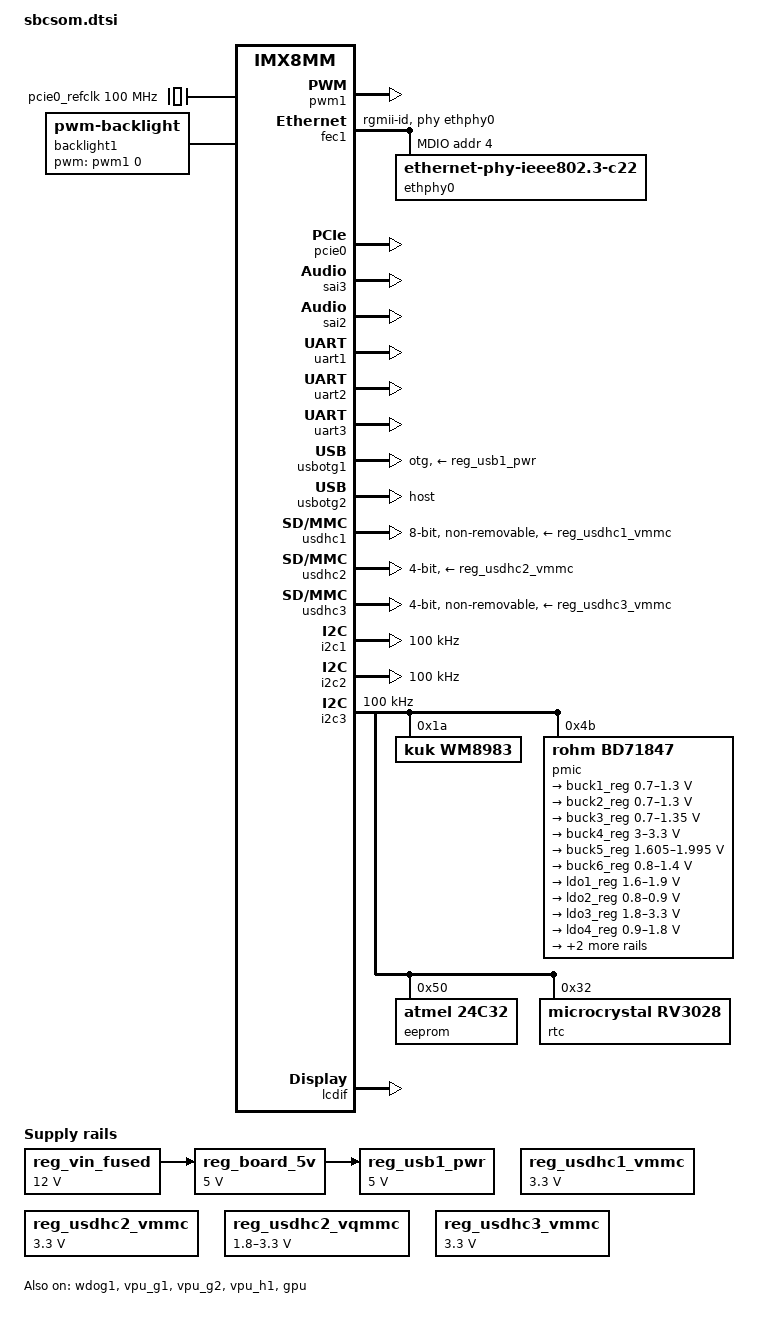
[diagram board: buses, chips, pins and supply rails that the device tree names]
/*
 * Copyright 2020 Keith & Koep GmbH
 */

/*
Switches:
    TRIZEPS8MINI_V1R1                   Use V1R1 (engineering sample), whcih use GPIO1_2 as Reset instead of Watchdog-Reset                      			

    TRIZEPS8MINI_USDHC1_VQMMC_MCU		For UHS: Control VQMMC voltage of internal uSD-Card.
    TRIZEPS8MINI_USDHC2_VQMMC_MCU		For UHS: Control VQMMC voltage of external uSD-Card. 
    There is only one VQMMC-switch on the Trizeps module. 
    Module with eMMC:   VQMMC of eMMC fixed to +1V8 and VQMMC of ext. uSD fixed to +3V3   
                        Special mounting exist to switch ext. uSD voltage: Use TRIZEPS8MINI_USDHC2_VQMMC_MCU in that case.
    Module with uSD:    VQMMC of int. uSD switchable (+3V3/+1V8) and VQMMC of ext. uSD fixed to +3V3. 
                        May use TRIZEPS8MINI_USDHC1_VQMMC_MCU to allow UHS.
    
    ETHERNET_ONLY_100MBIT				Reduce Ethernet to 100MBit in case extra lanes for 1GBit are not connected on the baseboard.

    TRIZEPS8MINI_BT_SCO_XTOR			Special audio-driver for Bluetooth.

*/

#include "imx8mm.dtsi"
#include "sbcsom-pinfunc.h"

/ {
	firmware {
		android {
			compatible = "android,firmware";
			/* default emmc node used for GSI */
			boot_devices = "soc@0/soc@0:bus@30800000/30b40000.mmc";
			/* sd card node which used if androidboot.boot_device_root=mmcblk1 */
			boot_devices_mmcblk1 = "soc@0/soc@0:bus@30800000/30b40000.mmc";
			/* emmc node which used if androidboot.boot_device_root=mmcblk2 */
			boot_devices_mmcblk2 = "soc@0/soc@0:bus@30800000/30b40000.mmc";
			fstab {
				compatible = "android,fstab";
				system {
					compatible = "android,system";
					dev = "system";
					type = "ext4";
					mnt_flags = "noatime,errors=panic,ro,barrier=1,inode_readahead_blks=8";
					fsmgr_flags = "wait,slotselect,avb,avb_keys=/avb/q-gsi.avbpubkey:/avb/r-gsi.avbpubkey:/avb/s-gsi.avbpubkey,logical,first_stage_mount";
				};
				vendor {
					compatible = "android,vendor";
					dev = "vendor";
					type = "ext4";
					mnt_flags = "noatime,errors=panic,ro,barrier=1,inode_readahead_blks=8";
					fsmgr_flags = "wait,slotselect,avb,logical,first_stage_mount";
				};
				product {
					compatible = "android,product";
					dev = "product";
					type = "ext4";
					mnt_flags = "noatime,errors=panic,ro,barrier=1,inode_readahead_blks=8";
					fsmgr_flags = "wait,slotselect,avb,logical,first_stage_mount";
				};
			};
			vbmeta {
				/*we need use FirstStageMountVBootV2 if we enable avb*/
				compatible = "android,vbmeta";
				/*parts means the partition witch can be mount in first stage*/
				parts = "vbmeta,dtbo,boot,system,vendor,product";
			};
		};
	};
};

/ {
	trusty {
		compatible = "android,trusty-smc-v1";
		ranges;
		#address-cells = <2>;
		#size-cells = <2>;
		trusty-irq {
			compatible = "android,trusty-irq-v1";
			interrupt-templates = <&trusty_ipi 0>;
			interrupt-ranges = < 0 15 0>;
		};
		trusty-virtio {
			compatible = "android,trusty-virtio-v1";
		};
		trusty-log {
			compatible = "android,trusty-log-v1";
		};
	};
	trusty_ipi: interrupt-controller@0 {
		compatible = "android,CustomIPI";
		interrupt-controller;
		#interrupt-cells = <1>;
	};
};

/ {
	reserved-memory {
		#address-cells = <2>;
		#size-cells = <2>;
		ranges;

		rpmsg_reserved: rpmsg@0xb8000000 {
			no-map;
			reg = <0 0xb8000000 0 0x400000>;
		};
	};

	pcie0_refclk: pcie0-refclk {
		compatible = "fixed-clock";
		#clock-cells = <0>;
		clock-frequency = <100000000>;
	};

	reg_vin_fused: vin_fused {
		compatible = "regulator-fixed";
		regulator-name = "VIN_FUSED";
		regulator-min-microvolt = <12000000>;
		regulator-max-microvolt = <12000000>;
		regulator-always-on;
	};

	reg_board_5v: 5v {
		compatible = "regulator-fixed";
		regulator-name = "+5V";
		regulator-min-microvolt = <5000000>;
		regulator-max-microvolt = <5000000>;
		regulator-always-on;
		vin-supply = <&reg_vin_fused>;
	};

	reg_usb1_pwr: usb1-pwr {
		compatible = "regulator-fixed";
		regulator-name = "USB1 PWR";
		regulator-min-microvolt = <5000000>;
		regulator-max-microvolt = <5000000>;
		pinctrl-names = "default";
		pinctrl-0 = <&pinctrl_usb1_enable>;
		gpio = <usbc_switch_gpio 1>;
		enable-active-high;
		regulator-always-on;
		vin-supply = <&reg_board_5v>;
	};

	reg_usdhc1_vmmc: usdhc1_vmmc {
		compatible = "regulator-fixed";
		regulator-name = "VMMC_USDHC1";
		regulator-min-microvolt = <3300000>;
		regulator-max-microvolt = <3300000>;
		enable-active-high;
	};

	reg_usdhc2_vmmc: regulator-usdhc2 {
		compatible = "regulator-fixed";
		regulator-name = "VMMC_USDHC2";
		regulator-min-microvolt = <3300000>;
		regulator-max-microvolt = <3300000>;
		enable-active-high;
	};

	reg_usdhc2_vqmmc: regulator-usdhc2-vqmmc {
		compatible = "regulator-gpio";
		regulator-name = "VDDIO_USDHC2";
		regulator-min-microvolt = <1800000>;
		regulator-max-microvolt = <3300000>;
    	pinctrl-names = "default";
	    pinctrl-0 = <&pinctrl_sd_vsel>;        
        gpios = <&gpio4 22 GPIO_ACTIVE_HIGH>;
        gpios-states = <1>;
		states = <1800000 1>, <3300000 0>;
	};

    reg_usdhc3_vmmc: regulator-usdhc3 {
		compatible = "regulator-fixed";
		regulator-name = "VMMC_USDHC3";
		regulator-min-microvolt = <3300000>;
		regulator-max-microvolt = <3300000>;
		enable-active-high;
	};

	sound-xtor {
		compatible = "fsl,imx-audio-xtor";
		model = "xtor-audio";
		cpu-dai = <&sai3>;
		status = "okay";
	};

	sound-wm8983 {
		compatible = "simple-audio-card";
		simple-audio-card,name = "wm8983-audio";
		simple-audio-card,format = "i2s";
		simple-audio-card,frame-master = <&cpudai>;
		simple-audio-card,bitclock-master = <&cpudai>;
		simple-audio-card,widgets =
			"Headphone", "Headphone Jack",
			"Speaker", "Speaker", 
			"Line","LineIn Jack",
			"Microphone", "Microphone";
		simple-audio-card,routing =
			"Headphone Jack", "HPL",
			"Headphone Jack", "HPR",
			"Headphone Jack", "OUT4",
			"Speaker", "SPKL",
			"Speaker", "SPKR",
			"LineIn Jack", "L2",
			"LineIn Jack", "R2",
			"Microphone", "LIP",
			"Microphone", "LIN",
			"Microphone", "MICBIAS";

		cpudai: simple-audio-card,cpu {
			sound-dai = <&sai2>;
			dai-tdm-slot-num = <2>;
			dai-tdm-slot-width = <32>;
		};

		simple-audio-card,codec {
			sound-dai = <&wm8983>;
			clocks = <&clk IMX8MM_CLK_SAI2_ROOT>;
		};
	};

	sound-spdif {
		compatible = "fsl,imx-audio-spdif";
		model = "imx-spdif";
		spdif-controller = <&spdif1>;
		spdif-out;
		spdif-in;
	};

	sound-micfil {
		compatible = "fsl,imx-audio-micfil";
		model = "imx-audio-micfil";
		cpu-dai = <&micfil>;
	};

	backlight1: backlight {
		compatible = "pwm-backlight";
		pwms = <&pwm1 0 100000 0>;
		brightness-levels = < 0  1  2  3  4  5  6  7  8  9
				     10 11 12 13 14 15 16 17 18 19
				     20 21 22 23 24 25 26 27 28 29
				     30 31 32 33 34 35 36 37 38 39
				     40 41 42 43 44 45 46 47 48 49
				     50 51 52 53 54 55 56 57 58 59
				     60 61 62 63 64 65 66 67 68 69
				     70 71 72 73 74 75 76 77 78 79
				     80 81 82 83 84 85 86 87 88 89
				     90 91 92 93 94 95 96 97 98 99
				    100>;
		default-brightness-level = <80>;
		status = "disabled";
 	};
};

&pwm1 {
	pinctrl-names = "default";
    pinctrl-0 = <&pinctrl_backlight_pwm1>;	
	status = "okay";
};

&backlight1 {
	status = "okay";
	pinctrl-0 = <&pinctrl_backlight_enable>;
	enable-gpios = <pin1b34_gpio GPIO_ACTIVE_HIGH>;    
};

&A53_0 {
	cpu-supply = <&buck2_reg>;
};

&fec1 {
	pinctrl-names = "default";
	pinctrl-0 = <&pinctrl_fec1>;
	phy-mode = "rgmii-id";
	phy-handle = <&ethphy0>;
	fsl,magic-packet;
	status = "okay";

	mdio {
		#address-cells = <1>;
		#size-cells = <0>;

		ethphy0: ethernet-phy@0 {
			compatible = "ethernet-phy-ieee802.3-c22";
			reg = <4>;
			at803x,eee-disabled;
			at803x,vddio-1p8v;
		};
	};
};

&pcie0{
	pinctrl-names   = "default";
	pinctrl-0       = <&pinctrl_pcie0>;
	disable-gpio    = <pcie_w_disable_gpio GPIO_ACTIVE_LOW>;
	reset-gpio      = <pcie_reset_gpio GPIO_ACTIVE_LOW>;
	clocks          = <&clk IMX8MM_CLK_PCIE1_ROOT>,
		                <&clk IMX8MM_CLK_PCIE1_AUX>,
		                <&clk IMX8MM_CLK_PCIE1_PHY>,
		                <&pcie0_refclk>;
	clock-names = "pcie", "pcie_aux", "pcie_phy", "pcie_bus";
	hard-wired      = <1>;
    ext_osc         = <0>;
	reserved-region = <&rpmsg_reserved>;
	status = "okay";
};

&clk {
	assigned-clocks = <&clk IMX8MM_AUDIO_PLL1>, <&clk IMX8MM_AUDIO_PLL2>;
	assigned-clock-rates = <786432000>, <722534400>;
};

&sai3 {
	pinctrl-names = "default";
	pinctrl-0 = <&pinctrl_sai3>;
	assigned-clocks = <&clk IMX8MM_CLK_SAI3>;
	assigned-clock-parents = <&clk IMX8MM_AUDIO_PLL1_OUT>;
	assigned-clock-rates = <49152000>;
	status = "okay";
};

&sai2 {
	#sound-dai-cells = <0>;
	pinctrl-names = "default";
	pinctrl-0 = <&pinctrl_sai2>;
	assigned-clocks = <&clk IMX8MM_CLK_SAI2>;
	assigned-clock-parents = <&clk IMX8MM_AUDIO_PLL1_OUT>;
	assigned-clock-rates = <24576000>;
	status = "okay";
};


&spdif1 {
	pinctrl-names = "default";
	pinctrl-0 = <&pinctrl_spdif1>;
	assigned-clocks = <&clk IMX8MM_CLK_SPDIF1>;
	assigned-clock-parents = <&clk IMX8MM_AUDIO_PLL1_OUT>;
	assigned-clock-rates = <24576000>;
	clocks = <&clk IMX8MM_CLK_AUDIO_AHB>, <&clk IMX8MM_CLK_24M>,
		<&clk IMX8MM_CLK_SPDIF1>, <&clk IMX8MM_CLK_DUMMY>,
		<&clk IMX8MM_CLK_DUMMY>, <&clk IMX8MM_CLK_DUMMY>,
		<&clk IMX8MM_CLK_AUDIO_AHB>, <&clk IMX8MM_CLK_DUMMY>,
		<&clk IMX8MM_CLK_DUMMY>, <&clk IMX8MM_CLK_DUMMY>,
		<&clk IMX8MM_AUDIO_PLL1_OUT>, <&clk IMX8MM_AUDIO_PLL2_OUT>;
	clock-names = "core", "rxtx0", "rxtx1", "rxtx2", "rxtx3",
		"rxtx4", "rxtx5", "rxtx6", "rxtx7", "spba", "pll8k", "pll11k";
	status = "disabled";
};

&snvs_pwrkey {
	status = "disabled";
};

&uart1 { /* i-MOD UART J12 and ext. Con. */
	pinctrl-names = "default";
	pinctrl-0 = <&pinctrl_uart1>;
	assigned-clocks = <&clk IMX8MM_CLK_UART1>;
	assigned-clock-parents = <&clk IMX8MM_SYS_PLL1_80M>;
	fsl,uart-has-rtscts;
	status = "okay";
};

&uart2 { /* ext. Con. */
	pinctrl-names = "default";
	pinctrl-0 = <&pinctrl_uart2>;
	assigned-clocks = <&clk IMX8MM_CLK_UART2>;
	assigned-clock-parents = <&clk IMX8MM_SYS_PLL1_80M>;
    fsl,uart-has-rtscts;
	status = "okay";
};

&uart3 { /* ext. Con. and/or bluetooth-module */
	pinctrl-names = "default";
	pinctrl-0 = <&pinctrl_uart3>;
	assigned-clocks = <&clk IMX8MM_CLK_UART3>;
	assigned-clock-parents = <&clk IMX8MM_SYS_PLL1_80M>;
	fsl,uart-has-rtscts;
	status = "okay";
};

&uart4 { /* ext. Con. */
	pinctrl-names = "default";
	pinctrl-0 = <&pinctrl_uart4>;
	assigned-clocks = <&clk IMX8MM_CLK_UART4>;
	assigned-clock-parents = <&clk IMX8MM_SYS_PLL1_80M>;
	fsl,uart-has-rtscts;
	status = "disabled";
};


&usbotg1 {
	dr_mode = "otg";
    vbus-supply = <&reg_usb1_pwr>;
	hnp-disable;
	srp-disable;
	adp-disable;
	usb-role-switch;
	picophy,pre-emp-curr-control = <3>;
	picophy,dc-vol-level-adjust = <7>;
	status = "okay";
};

&usbotg2 {
	dr_mode = "host";
    disable-over-current;
	hnp-disable;
	srp-disable;
	adp-disable;
	usb-role-switch;
	picophy,pre-emp-curr-control = <3>;
	picophy,dc-vol-level-adjust = <7>;
	status = "okay";
};

&usdhc1 {   /* eMMC */
	pinctrl-names = "default", "state_100mhz", "state_200mhz";
	pinctrl-0 = <&pinctrl_usdhc1>, <&pinctrl_usdhc1_gpio>;
	pinctrl-1 = <&pinctrl_usdhc1_100mhz>, <&pinctrl_usdhc1_gpio>;
	pinctrl-2 = <&pinctrl_usdhc1_200mhz>, <&pinctrl_usdhc1_gpio>;
	bus-width = <8>;
	vmmc-supply = <&reg_usdhc1_vmmc>;
	non-removable;
	status = "okay";
};

&usdhc2 {   /* ext. Con. */
	pinctrl-names = "default", "state_100mhz", "state_200mhz";
	pinctrl-0 = <&pinctrl_usdhc2>, <&pinctrl_usdhc2_gpio>;
	pinctrl-1 = <&pinctrl_usdhc2_100mhz>, <&pinctrl_usdhc2_gpio>;
	pinctrl-2 = <&pinctrl_usdhc2_200mhz>, <&pinctrl_usdhc2_gpio>;
	cd-gpios = <pin1b37_gpio GPIO_ACTIVE_LOW>;
	bus-width = <4>;
	vmmc-supply = <&reg_usdhc2_vmmc>;
	pm-ignore-notify;
	keep-power-in-suspend;
    vqmmc-supply = <&reg_usdhc2_vqmmc>;
	status = "okay";
};

&usdhc3 {   /* Wifi/BT module or ext. Con */
	pinctrl-names = "default", "state_100mhz", "state_200mhz";
	pinctrl-0 = <&pinctrl_usdhc3>, <&pinctrl_usdhc3_gpio>;
	pinctrl-1 = <&pinctrl_usdhc3_100mhz>, <&pinctrl_usdhc3_gpio>;
	pinctrl-2 = <&pinctrl_usdhc3_200mhz>, <&pinctrl_usdhc3_gpio>;
	bus-width = <4>;
	vmmc-supply = <&reg_usdhc3_vmmc>;
	pm-ignore-notify;
	keep-power-in-suspend;
    non-removable;
    no-1-8-v;
	status = "okay";
};

&wdog1 {
	pinctrl-names = "default";
	pinctrl-0 = <&pinctrl_wdog>;
	fsl,ext-reset-output;
	status = "okay";
};

&i2c1 { /* ext. Con, i-MOD USB, PCIe-socket */
	clock-frequency = <100000>;
	pinctrl-names = "default";
	pinctrl-0 = <&pinctrl_i2c1>;
	status = "okay";
};

&i2c2 { /* ext. Con, Touch, Camera */
	clock-frequency = <100000>;
	pinctrl-names = "default";
	pinctrl-0 = <&pinctrl_i2c2>;
	status = "okay";
};

&i2c3 { /* Internal I2C */
	clock-frequency = <100000>;
	pinctrl-names = "default";
	pinctrl-0 = <&pinctrl_i2c3>;
	status = "okay";

	wm8983: wm8983@1a {	/* Audio-Codec */
        #sound-dai-cells = <0>;
		compatible = "kuk,wm8983";
		reg = <0x1a>;
		clocks = <&clk IMX8MM_CLK_SAI2_ROOT>;
		clock-names = "mclk";		
	};

	sn65dsi84@2c {
		status = "disabled";
		compatible = "ti,sn65dsi84";
		reg = <0x2c>;
		enable-gpios =<lvds_en_gpio GPIO_ACTIVE_HIGH>;

		pinctrl-names = "default";
		pinctrl-0 = <&pinctrl_i2c3_sn65dsi84_en>;
	};        

	pmic@4b {
		compatible = "rohm,bd71847";
		reg = <0x4b>;
		rohm,reset-snvs-powered;

		regulators {
			buck1_reg: BUCK1 {  // VDD_SOC_0V8
				regulator-name = "BUCK1";
				regulator-min-microvolt = <700000>;
				regulator-max-microvolt = <1300000>;
				regulator-boot-on;
				regulator-always-on;
				regulator-ramp-delay = <1250>;
			};

			buck2_reg: BUCK2 {  // VDD_SOC_0V9
				regulator-name = "BUCK2";
				regulator-min-microvolt = <700000>;
				regulator-max-microvolt = <1300000>;
				regulator-boot-on;
				regulator-always-on;
				regulator-ramp-delay = <1250>;
				rohm,dvs-run-voltage = <1000000>;
				rohm,dvs-idle-voltage = <900000>;
			};

			buck3_reg: BUCK3 {  // VDD_DRAM_PU_0V9
				// BUCK5 in datasheet
				regulator-name = "BUCK3";
				regulator-min-microvolt = <700000>;
				regulator-max-microvolt = <1350000>;
				regulator-boot-on;
				regulator-always-on;
			};

			buck4_reg: BUCK4 {  // +3V3_AUX
				// BUCK6 in datasheet
				regulator-name = "BUCK4";
				regulator-min-microvolt = <3000000>;
				regulator-max-microvolt = <3300000>;
				regulator-boot-on;
				regulator-always-on;
			};

			buck5_reg: BUCK5 {  // VDD_1V8
				// BUCK7 in datasheet
				regulator-name = "BUCK5";
				regulator-min-microvolt = <1605000>;
				regulator-max-microvolt = <1995000>;
				regulator-boot-on;
				regulator-always-on;
			};

			buck6_reg: BUCK6 {  // NVCC_DRAM_1V1
				// BUCK8 in datasheet
				regulator-name = "BUCK6";
				regulator-min-microvolt = <800000>;
				regulator-max-microvolt = <1400000>;
				regulator-boot-on;
				regulator-always-on;
			};

			ldo1_reg: LDO1 {    // NVCC_SNVS_1V8
				regulator-name = "LDO1";
				regulator-min-microvolt = <1600000>;
				regulator-max-microvolt = <1900000>;
				regulator-boot-on;
				regulator-always-on;
			};

			ldo2_reg: LDO2 {    // VDD_SNVS_0V8
				regulator-name = "LDO2";
				regulator-min-microvolt = <800000>;
				regulator-max-microvolt = <900000>;
				regulator-boot-on;
				regulator-always-on;
			};

			ldo3_reg: LDO3 {    // VDDA_1V8
				regulator-name = "LDO3";
				regulator-min-microvolt = <1800000>;
				regulator-max-microvolt = <3300000>;
				regulator-boot-on;
				regulator-always-on;
			};

			ldo4_reg: LDO4 {    // VDD_PHY_0V9
				regulator-name = "LDO4";
				regulator-min-microvolt = <900000>;
				regulator-max-microvolt = <1800000>;
				regulator-boot-on;
				regulator-always-on;
			};

			ldo5_reg: LDO5 {    // VDD_FPGA_MIPI
				regulator-name = "LDO5";
				regulator-min-microvolt = <800000>;
				regulator-max-microvolt = <3300000>;
				regulator-boot-on;
				regulator-always-on;
			};

			ldo6_reg: LDO6 {    // VDD_PHY_1V2
				regulator-name = "LDO6";
				regulator-min-microvolt = <900000>;
				regulator-max-microvolt = <1800000>;
				regulator-boot-on;
				regulator-always-on;
			};
		};
	};

    eeprom@50 {
		compatible = "atmel,24c32";
		reg = <0x50>;
		pagesize = <32>;
	};

	rtc@52 {
		compatible = "microcrystal,rv3028";
		reg = <0x32>;
		trickle-diode-disable;
	};
};


&iomuxc {
	pinctrl-names = "default";
	pinctrl-0 = <&pinctrl_hog>;

    pinctrl_hog: hoggrp {
		fsl,pins = < 
		    		 CAMERA_PWDN		PAD_GPIO_PU   /* Camera Pwdn  */
   					 CAMERA_RESET		PAD_GPIO_PU   /* Camera nRST  */
		       >;
	};

	pinctrl_fec1: fec1grp {
		fsl,pins = <
			MX8MM_IOMUXC_ENET_MDC_ENET1_MDC			0x3
			MX8MM_IOMUXC_ENET_MDIO_ENET1_MDIO		0x3
			MX8MM_IOMUXC_ENET_TD3_ENET1_RGMII_TD3		0x1f
			MX8MM_IOMUXC_ENET_TD2_ENET1_RGMII_TD2		0x1f
			MX8MM_IOMUXC_ENET_TD1_ENET1_RGMII_TD1		0x1f
			MX8MM_IOMUXC_ENET_TD0_ENET1_RGMII_TD0		0x1f
			MX8MM_IOMUXC_ENET_RD3_ENET1_RGMII_RD3		0x91
			MX8MM_IOMUXC_ENET_RD2_ENET1_RGMII_RD2		0x91
			MX8MM_IOMUXC_ENET_RD1_ENET1_RGMII_RD1		0x91
			MX8MM_IOMUXC_ENET_RD0_ENET1_RGMII_RD0		0x91
			MX8MM_IOMUXC_ENET_TXC_ENET1_RGMII_TXC		0x1f
			MX8MM_IOMUXC_ENET_RXC_ENET1_RGMII_RXC		0x91
			MX8MM_IOMUXC_ENET_RX_CTL_ENET1_RGMII_RX_CTL	0x91
			MX8MM_IOMUXC_ENET_TX_CTL_ENET1_RGMII_TX_CTL	0x1f
			MX8MM_IOMUXC_GPIO1_IO09_GPIO1_IO9		0x19
		>;
	};


	pinctrl_i2c1: i2c1grp {
		fsl,pins = <
			MX8MM_IOMUXC_I2C1_SCL_I2C1_SCL			0x400001c3
			MX8MM_IOMUXC_I2C1_SDA_I2C1_SDA			0x400001c3
		>;
	};

	pinctrl_i2c2: i2c2grp {
		fsl,pins = <
			MX8MM_IOMUXC_I2C2_SCL_I2C2_SCL			0x400001c3
			MX8MM_IOMUXC_I2C2_SDA_I2C2_SDA			0x400001c3
		>;
	};

	pinctrl_i2c3: i2c3grp {
		fsl,pins = <
			MX8MM_IOMUXC_I2C3_SCL_I2C3_SCL			0x400001c3
			MX8MM_IOMUXC_I2C3_SDA_I2C3_SDA			0x400001c3
		>;
	};

	pinctrl_pcie0: pcie0grp {
		fsl,pins = <
			PIN1B32_PCIE1_CLKREQ_B          	0x61   /* open drain, pull up */
			PCIE_W_DISABLE_GPIO             	0x41   /* PCIE1_W_DISABLE     */
			PCIE_RESET_GPIO                 	0x41   /* PCIE1_RESET         */
			WL_POWERDOWN_GPIO           		0x41   /* WL_POWERDOWN        */
			PCIE_WAKE_GPIO                  	0x41   /* PCIE1_WAKE          */
			>;
	};

	pinctrl_sai2: sai2grp {
		fsl,pins = <
			SAI2_RXD_SAI2_RX_DATA0             	0xd6
			SAI2_TXC_SAI2_TX_BCLK           	0xd6
			SAI2_MCLK_SAI2_MCLK             	0xd6
			SAI2_TXD_SAI2_TX_DATA0             	0xd6
			SAI2_RXD_SAI2_RX_DATA0          	0xd6			
		>;
    };

	pinctrl_sai3: sai3grp {
		fsl,pins = <
			BT_PCM_SYNC_SAI3_RX_SYNC            0x1d6
			BT_PCM_CLK_SAI3_RX_BCLK             0x1d6
			BT_PCM_OUT_SAI3_RX_DATA0            0x196
			BT_PCM_IN_SAI3_TX_DATA0             0x196
		>;
	};


	pinctrl_spdif1: spdif1grp {
		fsl,pins = <
			PIN0A35_SPDIF1_OUT              	0xd6
			PIN0A34_SPDIF1_IN           		0xd6
		>;
	};


	pinctrl_uart1: uart1grp {
		fsl,pins = <
			MX8MM_IOMUXC_UART1_RXD_UART1_DCE_RX	0x140
			MX8MM_IOMUXC_UART1_TXD_UART1_DCE_TX	0x140
		>;
	};

	pinctrl_uart2: uart2grp {
		fsl,pins = <
			MX8MM_IOMUXC_UART2_RXD_UART2_DCE_RX	0x140
			MX8MM_IOMUXC_UART2_TXD_UART2_DCE_TX	0x140
			MX8MM_IOMUXC_UART4_RXD_UART2_DCE_CTS_B  0x140     /* RTS */
			MX8MM_IOMUXC_UART4_TXD_UART2_DCE_RTS_B  0x140     /* CTS */
		>;
	};

	pinctrl_uart3: uart3grp {
		fsl,pins = <
			MX8MM_IOMUXC_ECSPI1_SCLK_UART3_DCE_RX		0x140 
			MX8MM_IOMUXC_ECSPI1_MISO_UART3_DCE_CTS_B	0x140 
			MX8MM_IOMUXC_ECSPI1_MOSI_UART3_DCE_TX		0x140 
			MX8MM_IOMUXC_ECSPI1_SS0_UART3_DCE_RTS_B		0x140 
		>;
	};

	pinctrl_uart4: uart4grp {
		fsl,pins = <
			MX8MM_IOMUXC_ECSPI2_SCLK_UART4_DCE_RX		0x140
			MX8MM_IOMUXC_ECSPI2_MOSI_UART4_DCE_TX		0x140
			MX8MM_IOMUXC_ECSPI2_SS0_UART4_DCE_RTS_B         0x140
			MX8MM_IOMUXC_ECSPI2_MISO_UART4_DCE_CTS_B	0x140
		>;
	};

	pinctrl_usdhc1_gpio: usdhc1grpgpio {
		fsl,pins = <
			MX8MM_IOMUXC_SD1_RESET_B_USDHC1_RESET_B	0xc1
		>;
	};

		pinctrl_usdhc1: usdhc1grp {
			fsl,pins = <
				MX8MM_IOMUXC_SD1_CLK_USDHC1_CLK		0x190
				MX8MM_IOMUXC_SD1_CMD_USDHC1_CMD		0x1d0
				MX8MM_IOMUXC_SD1_DATA0_USDHC1_DATA0	0x1d0
				MX8MM_IOMUXC_SD1_DATA1_USDHC1_DATA1	0x1d0
				MX8MM_IOMUXC_SD1_DATA2_USDHC1_DATA2	0x1d0
				MX8MM_IOMUXC_SD1_DATA3_USDHC1_DATA3	0x1d0
				MX8MM_IOMUXC_SD1_DATA4_USDHC1_DATA4	0x1d0
				MX8MM_IOMUXC_SD1_DATA5_USDHC1_DATA5	0x1d0
				MX8MM_IOMUXC_SD1_DATA6_USDHC1_DATA6	0x1d0
				MX8MM_IOMUXC_SD1_DATA7_USDHC1_DATA7	0x1d0
				MX8MM_IOMUXC_SD1_STROBE_USDHC1_STROBE	0x190			
			>;
		};

		pinctrl_usdhc1_100mhz: usdhc1grp100mhz {
			fsl,pins = <
				MX8MM_IOMUXC_SD1_CLK_USDHC1_CLK		0x194
				MX8MM_IOMUXC_SD1_CMD_USDHC1_CMD		0x1d4
				MX8MM_IOMUXC_SD1_DATA0_USDHC1_DATA0	0x1d4
				MX8MM_IOMUXC_SD1_DATA1_USDHC1_DATA1	0x1d4
				MX8MM_IOMUXC_SD1_DATA2_USDHC1_DATA2	0x1d4
				MX8MM_IOMUXC_SD1_DATA3_USDHC1_DATA3	0x1d4
				MX8MM_IOMUXC_SD1_DATA4_USDHC1_DATA4	0x1d4
				MX8MM_IOMUXC_SD1_DATA5_USDHC1_DATA5	0x1d4
				MX8MM_IOMUXC_SD1_DATA6_USDHC1_DATA6	0x1d4
				MX8MM_IOMUXC_SD1_DATA7_USDHC1_DATA7	0x1d4
				MX8MM_IOMUXC_SD1_STROBE_USDHC1_STROBE	0x194
			>;
		};

		pinctrl_usdhc1_200mhz: usdhc1grp200mhz {
			fsl,pins = <
				MX8MM_IOMUXC_SD1_CLK_USDHC1_CLK		0x196
				MX8MM_IOMUXC_SD1_CMD_USDHC1_CMD		0x1d6
				MX8MM_IOMUXC_SD1_DATA0_USDHC1_DATA0	0x1d6
				MX8MM_IOMUXC_SD1_DATA1_USDHC1_DATA1	0x1d6
				MX8MM_IOMUXC_SD1_DATA2_USDHC1_DATA2	0x1d6
				MX8MM_IOMUXC_SD1_DATA3_USDHC1_DATA3	0x1d6
				MX8MM_IOMUXC_SD1_DATA4_USDHC1_DATA4	0x1d6
				MX8MM_IOMUXC_SD1_DATA5_USDHC1_DATA5	0x1d6
				MX8MM_IOMUXC_SD1_DATA6_USDHC1_DATA6	0x1d6
				MX8MM_IOMUXC_SD1_DATA7_USDHC1_DATA7	0x1d6
				MX8MM_IOMUXC_SD1_STROBE_USDHC1_STROBE	0x196
			>;
		};

	pinctrl_usdhc2_gpio: usdhc2grpgpio {
		fsl,pins = <
			PIN1B37_GPIO                      	0x1c4
		>;
	};

	pinctrl_usdhc2: usdhc2grp {
		fsl,pins = <
			MX8MM_IOMUXC_SD2_CLK_USDHC2_CLK		0x190
			MX8MM_IOMUXC_SD2_CMD_USDHC2_CMD		0x1d0
			MX8MM_IOMUXC_SD2_DATA0_USDHC2_DATA0	0x1d0
			MX8MM_IOMUXC_SD2_DATA1_USDHC2_DATA1	0x1d0
			MX8MM_IOMUXC_SD2_DATA2_USDHC2_DATA2	0x1d0
			MX8MM_IOMUXC_SD2_DATA3_USDHC2_DATA3	0x1d0
		>;
	};

	pinctrl_usdhc2_100mhz: usdhc2grp100mhz {
		fsl,pins = <
			MX8MM_IOMUXC_SD2_CLK_USDHC2_CLK		0x194
			MX8MM_IOMUXC_SD2_CMD_USDHC2_CMD		0x1d4
			MX8MM_IOMUXC_SD2_DATA0_USDHC2_DATA0	0x1d4
			MX8MM_IOMUXC_SD2_DATA1_USDHC2_DATA1	0x1d4
			MX8MM_IOMUXC_SD2_DATA2_USDHC2_DATA2	0x1d4
			MX8MM_IOMUXC_SD2_DATA3_USDHC2_DATA3	0x1d4
		>;
	};

	pinctrl_usdhc2_200mhz: usdhc2grp200mhz {
		fsl,pins = <
			MX8MM_IOMUXC_SD2_CLK_USDHC2_CLK		0x196
			MX8MM_IOMUXC_SD2_CMD_USDHC2_CMD		0x1d6
			MX8MM_IOMUXC_SD2_DATA0_USDHC2_DATA0	0x1d6
			MX8MM_IOMUXC_SD2_DATA1_USDHC2_DATA1	0x1d6
			MX8MM_IOMUXC_SD2_DATA2_USDHC2_DATA2	0x1d6
			MX8MM_IOMUXC_SD2_DATA3_USDHC2_DATA3	0x1d6
		>;
	};

	pinctrl_sd_vsel: sdvselgrp {
		fsl,pins = < 
            SD_VSEL_GPIO                            0x16 
        >;
	};
    
	pinctrl_usdhc3_gpio: usdhc3grpgpio {
		fsl,pins = <
			SD3_DET_GPIO            	            0x16  
		>;
	};

	pinctrl_usdhc3: usdhc3grp {
		fsl,pins = <
			SD3_CLK_USDHC3_CLK                      0x190
			SD3_CMD_USDHC3_CMD              	    0x1d0
			SD3_DATA0_USDHC3_DATA0	                0x1d0
			SD3_DATA1_USDHC3_DATA1              	0x1d0
			SD3_DATA2_USDHC3_DATA2              	0x1d0
			SD3_DATA3_USDHC3_DATA3              	0x1d0
		>;
	};

	pinctrl_usdhc3_100mhz: usdhc3grp100mhz {
		fsl,pins = <
			SD3_CLK_USDHC3_CLK              		0x194
			SD3_CMD_USDHC3_CMD              		0x1d4
			SD3_DATA0_USDHC3_DATA0	                0x1d4
			SD3_DATA1_USDHC3_DATA1              	0x1d4
			SD3_DATA2_USDHC3_DATA2              	0x1d4
			SD3_DATA3_USDHC3_DATA3              	0x1d4
		>;
	};

	pinctrl_usdhc3_200mhz: usdhc3grp200mhz {
		fsl,pins = <
			SD3_CLK_USDHC3_CLK              		0x196
			SD3_CMD_USDHC3_CMD              		0x1d6
			SD3_DATA0_USDHC3_DATA0	                0x1d6
			SD3_DATA1_USDHC3_DATA1              	0x1d6
			SD3_DATA2_USDHC3_DATA2              	0x1d6
			SD3_DATA3_USDHC3_DATA3              	0x1d6
		>;
	};

	pinctrl_backlight_pwm1: pwm-backlight {
		fsl,pins = < PIN1B35_PWM1_OUT	0x16 >;	/* BL_PWM */
	};
		
	pinctrl_backlight_enable: backlight-enable {
		fsl,pins = < PIN1B34_GPIO  0x16 >;	/* BL_EN */
	};

	pinctrl_wdog: wdoggrp {
		fsl,pins = <
			WDOGRESET_WDOG1_WDOG_B	0xc6
		>;
	};        

	pinctrl_usb1_enable: usb1-enable 	{
		fsl,pins = < USBC_SWITCH_GPIO		PAD_GPIO >; 
	};

	pinctrl_i2c3_sn65dsi84_en: sn65dsi84_iogrp {
		fsl,pins = < LVDS_EN_GPIO  PAD_GPIO  >; /* Myon internal LVDS Enable and external Pin0-72 */
	};
};

&lcdif {
	status = "okay";
};

&vpu_g1 {
	status = "okay";
};

&vpu_g2 {
	status = "okay";
};

&vpu_h1 {
	status = "okay";
};

&gpu {
	status = "okay";
};
